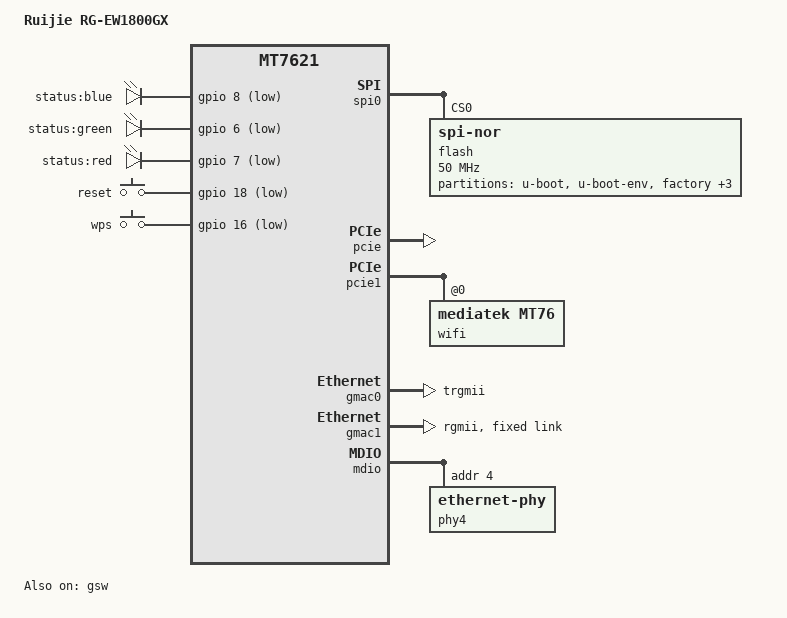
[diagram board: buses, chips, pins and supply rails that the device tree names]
/dts-v1/;

#include "mt7621.dtsi"

#include <dt-bindings/gpio/gpio.h>
#include <dt-bindings/input/input.h>

/ {
	compatible = "ruijie,rg-ew1800gx", "mediatek,mt7621-soc";
	model = "Ruijie RG-EW1800GX";

	aliases {
		led-boot = &led_status;
		led-failsafe = &led_status;
		led-running = &led_status;
		led-upgrade = &led_status;
	};

	chosen {
		bootargs = "console=ttyS0,115200";
	};

	leds {
		compatible = "gpio-leds";

		led_status: status {
			label = "status:blue";
			gpios = <&gpio 8 GPIO_ACTIVE_LOW>;
		};

		led_green: green {
			label = "status:green";
			gpios = <&gpio 6 GPIO_ACTIVE_LOW>;
			default-state = "off";
		};

		led_red: red {
			label = "status:red";
			gpios = <&gpio 7 GPIO_ACTIVE_LOW>;
			default-state = "off";
		};
	};

	keys {
		compatible = "gpio-keys";

		reset {
			label = "reset";
			gpios = <&gpio 18 GPIO_ACTIVE_LOW>;
			linux,code = <KEY_RESTART>;
		};

		wps {
			label = "wps";
			gpios = <&gpio 16 GPIO_ACTIVE_LOW>;
			linux,code = <KEY_WPS_BUTTON>;
		};
	};
};

&spi0 {
	status = "okay";

	flash@0 {
		compatible = "jedec,spi-nor";
		reg = <0>;
		spi-max-frequency = <50000000>;

		partitions {
			compatible = "fixed-partitions";
			#address-cells = <1>;
			#size-cells = <1>;

			partition@0 {
				label = "u-boot";
				reg = <0x00000 0x50000>;
				read-only;
			};

			partition@50000 {
				label = "u-boot-env";
				reg = <0x50000 0x10000>;
			};

			factory: partition@60000 {
				label = "factory";
				reg = <0x60000 0x40000>;
				read-only;
			};

			partition@a0000 {
				label = "product_info";
				reg = <0xa0000 0x10000>;
				read-only;
			};

			partition@b0000 {
				label = "kdump";
				reg = <0xb0000 0x10000>;
			};

			partition@c0000 {
				compatible = "denx,uimage";
				label = "firmware";
				reg = <0xc0000 0xf40000>;
			};
		};
	};
};

&xhci {
	status = "disabled";
};

&pcie {
	status = "okay";
};

&pcie1 {
	wifi@0,0 {
		compatible = "mediatek,mt76";
		reg = <0x0000 0 0 0 0>;
		mediatek,mtd-eeprom = <&factory 0x0000>;
		mtd-mac-address = <&factory 0x4>;
		nvmem-cells = <&macaddr_factory_4>;
		nvmem-cell-names = "mac-address";
		mediatek,disable-radar-background;
	};
};

&ethernet {
	pinctrl-names = "default";
	pinctrl-0 = <&rgmii1_pins &rgmii2_pins &mdio_pins>;
};

&gmac0 {
	phy-mode = "trgmii";
	nvmem-cells = <&macaddr_factory_4>;
	nvmem-cell-names = "mac-address";
	mtd-mac-address = <&factory 0x4>;
	mac-address-increment = <(-1)>;
};

&gmac1 {
	status = "okay";
	nvmem-cells = <&macaddr_factory_4>;
	nvmem-cell-names = "mac-address";
	mtd-mac-address = <&factory 0x4>;
	mac-address-increment = <(-2)>;
	phy-mode = "rgmii";
	fixed-link {
		speed = <1000>;
		full-duplex;
		pause;
	};
};

&mdio {
	phy4: ethernet-phy@4 {
		reg = <4>;
	};
};

&switch0 {
	/* must delete compatible property */
	/delete-property/ compatible;
};

&gsw {
	compatible = "mediatek,mt753x";
	status = "okay";

	mediatek,mdio = <&mdio>;
	mediatek,portmap = "llllw";
	mt7530,direct-phy-access;
	resets = <&rstctrl 2>;
	reset-names = "mcm";
	mediatek,mcm;

	#address-cells = <1>;
	#size-cells = <0>;

	port5: port@5 {
		compatible = "mediatek,mt753x-port";
		reg = <5>;
		phy-mode = "rgmii";
		fixed-link {
			speed = <1000>;
			full-duplex;
		};
	};

	port6: port@6 {
		compatible = "mediatek,mt753x-port";
		reg = <6>;
		phy-mode = "trgmii";
		fixed-link {
			speed = <1000>;
			full-duplex;
		};
	};
};

&state_default {
	gpio {
		groups = "uart2", "uart3";
		function = "gpio";
	};
};

&factory {
	compatible = "nvmem-cells";
	#address-cells = <1>;
	#size-cells = <1>;

	macaddr_factory_4: macaddr@4 {
		reg = <0x4 0x6>;
	};
};
